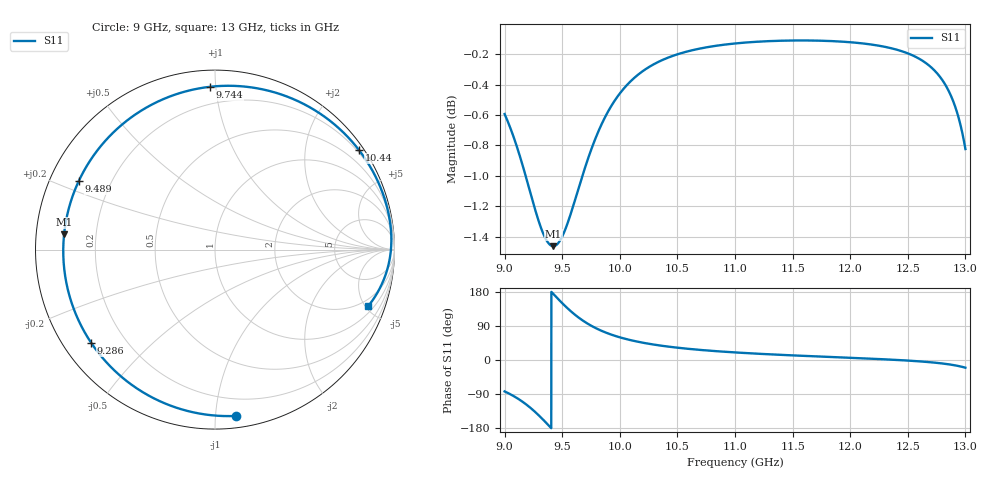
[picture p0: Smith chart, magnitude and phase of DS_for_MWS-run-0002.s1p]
! TOUCHSTONE file generated by CST DESIGN STUDIO
! Date and time: Tue Feb  4 18:22:08 2025
! Project name: C:\Work\MatlabApps\UnitCellOptimizationMatlab\CST\unitcell.cst
! Tree item: Tasks\Sweep1\SPara1\S-Parameters
! Header version: 2024
! Port assignment regex: !\s*Touchstone port\s*([0-9]+)\s*=\s*(CST MWS port|CST DES external port|CST DES block port)\s*(.+)\s* \(\"(.*)\"\)(\s*mode\s*([0-9]+))?.*
! Touchstone port assignment:
! Touchstone port 1 = CST DES external port 1 ("")
# GHz S MA R 50
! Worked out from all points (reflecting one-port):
!   4001 points, 9 GHz to 13 GHz, reference 50 ohm
!   lowest |S11| = -1.5 dB at 9.423 GHz (marker M1), VSWR 11.92, Z = 4.21 + j2.48 ohm
!   phase of S11 starts at -83 deg and turns -297 deg over the sweep
!   S11 on the Smith chart (normalised r, x): 9 GHz: 0.08, -1.13; 9.286 GHz: 0.08, -0.33; 9.489 GHz: 0.09, +0.24; 9.744 GHz: 0.09, +0.97; 10.44 GHz: 0.14, +3.19; 13 GHz: 1.42, -5.21
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9  0.934 -82.9
9.085  0.9163 -96.3
9.157  0.8982 -110.4
9.222  0.8804 -125.6
9.286  0.8636 -143.0
9.358  0.8496 -164.8
9.391  0.8462 -175.4
9.423  0.8451 174.3
9.489  0.8497 153.4
9.5  0.8513 150.0
9.558  0.8624 133.2
9.616  0.8763 118.2
9.677  0.8917 104.5
9.744  0.9075 91.8
9.867  0.9309 73.8
10  0.9486 59.8
10.091  0.9571 52.6
10.192  0.9643 46.1
10.436  0.9752 34.7
10.5  0.9771 32.5
10.723  0.9818 26.0
11  0.9851 20.0
11.5  0.9874 12.2
12  0.9861 5.8
12.5  0.9778 -1.5
12.789  0.9595 -8.8
12.903  0.9411 -13.7
13  0.9096 -20.3
